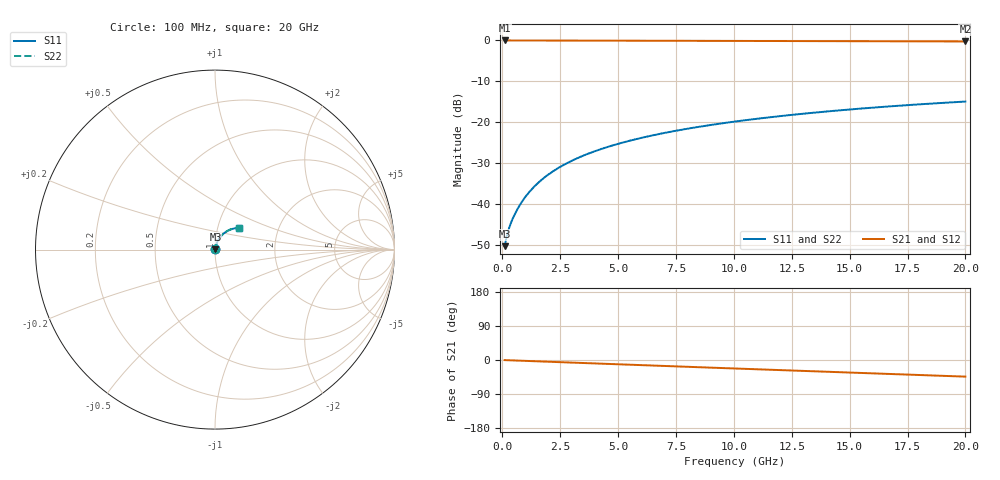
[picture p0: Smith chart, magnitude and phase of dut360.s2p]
! Touchstone file exported from HFSS 2026.1.0
!  File:  C:/ffzhzh/LocalFiles/Ansys_Project_Files/temp_train_TMRDL_360_1783004157_53980.aedt
!  Generated:  10:57:16 PM Jul  2, 2026
!  Design:  TMRDL
!  Project:  temp_train_TMRDL_360_1783004157_53980
! Variables:
!  h_bsmrdl = 2um
!  h_ox = 20um
!  h_rdl = 5um
!  h_sub = 80um
!  h_tmrdl = 4.16um
!  h_tsv = 80um
!  h_via = 3um
!  l_bsmrdl = 300um
!  l_sub = 1148.14um
!  l_tmrdl = 748.14um
!  m_sub = 200um
!  pitch = 38.1um
!  r_tsv = 6um
!  s_tmrdl = 10um
!  w_bsmrdl = 18um
!  w_sub = 500um
!  w_tmrdl = 27.31um
!  x_tsv_center1 = 761.795um
!  x_tsv_center2 = 1079.795um
!  x_tsv_center3 = 1855.245um
!  x_tsv_center4 = 2173.245um
!  x_tsv_center5 = 2948.695um
!  x_tsv_center6 = 3266.695um
# GHz S MA R 50.000000
! Terminal data exported
! Port[1] = TM_RDL1_1_T1
! Port[2] = TM_RDL1_1_T2
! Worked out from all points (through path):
!   200 points, 100 MHz to 20 GHz, reference 50 ohm
!   highest |S21| = -0.02 dB at 100 MHz (marker M1); lowest = -0.3 dB at 20 GHz (marker M2)
!   group delay of S21, straight-line fit = 6.08 ps
!   lowest |S11| = -50.3 dB at 100 MHz (marker M3), VSWR 1.01, Z = 50.3 + j0.157 ohm
!   |S11| at or under -10 dB: start of sweep to end of sweep
!   |S22| runs from -50.3 to -14.9 dB; largest |S21 - S12| = 3.6e-15
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0.1  0.003064 30.7  0.9974 -0.3  0.9974 -0.3  0.003064 30.7
! Gamma 0 0 0 0
! Port Impedance 50 0 50 0
0.2  0.004137 44.0  0.997 -0.5  0.997 -0.5  0.004137 44.0
0.3  0.005171 50.8  0.9968 -0.7  0.9968 -0.7  0.005171 50.8
0.4  0.006158 55.6  0.9966 -1.0  0.9966 -1.0  0.006158 55.6
0.5  0.007139 59.3  0.9965 -1.2  0.9965 -1.2  0.00714 59.3
0.6  0.008135 62.2  0.9964 -1.4  0.9964 -1.4  0.008135 62.2
0.8  0.01018 66.5  0.9962 -1.9  0.9962 -1.9  0.01018 66.5
1  0.01228 69.4  0.9961 -2.3  0.9961 -2.3  0.01228 69.4
1.2  0.01442 71.2  0.9959 -2.8  0.9959 -2.8  0.01442 71.2
1.4  0.01658 72.5  0.9958 -3.2  0.9958 -3.2  0.01658 72.5
1.7  0.01983 73.7  0.9955 -3.9  0.9955 -3.9  0.01983 73.7
2.2  0.02525 74.4  0.9951 -5.0  0.9951 -5.0  0.02526 74.4
2.8  0.0317 74.4  0.9944 -6.4  0.9944 -6.4  0.0317 74.4
3.5  0.0391 73.7  0.9936 -8.0  0.9936 -8.0  0.03911 73.7
4.2  0.04636 72.7  0.9927 -9.5  0.9927 -9.5  0.04636 72.6
5  0.05447 71.3  0.9915 -11.3  0.9915 -11.3  0.05448 71.3
6.8  0.07209 68.0  0.9889 -15.3  0.9889 -15.3  0.0721 67.9
8.3  0.08616 65.1  0.9868 -18.6  0.9868 -18.6  0.08618 65.0
10.1  0.1024 61.6  0.9841 -22.6  0.9841 -22.6  0.1024 61.5
13.4  0.1304 55.1  0.9793 -29.7  0.9793 -29.7  0.1305 55.0
16.7  0.156 48.5  0.9743 -36.8  0.9743 -36.8  0.1561 48.4
20  0.1789 41.9  0.9695 -43.9  0.9695 -43.9  0.179 41.7
